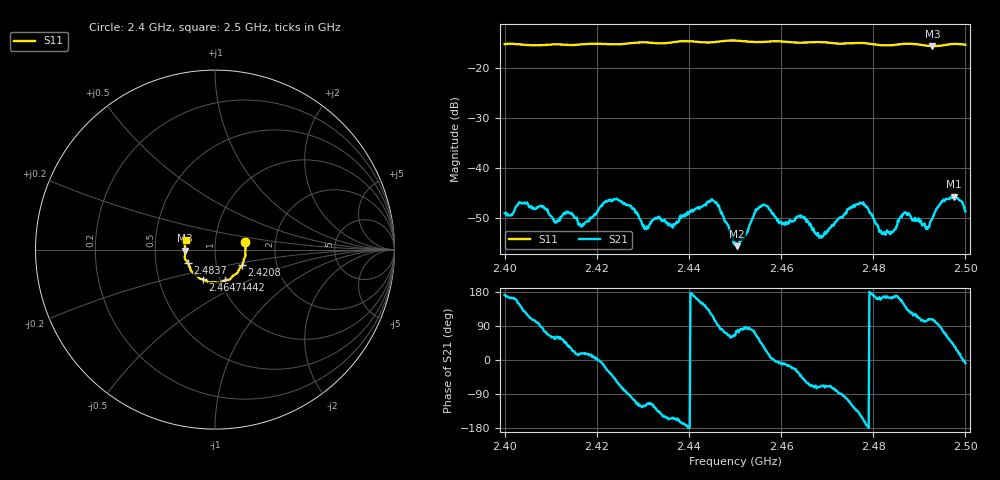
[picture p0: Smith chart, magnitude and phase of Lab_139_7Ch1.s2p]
# Hz S RI R 50
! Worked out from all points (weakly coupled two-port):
!   601 points, 2.4 GHz to 2.5 GHz, reference 50 ohm
!   highest |S21| = -45.68 dB at 2.4975 GHz (marker M1); lowest = -55.5 dB at 2.4505 GHz (marker M2)
!   lowest |S11| = -15.6 dB at 2.4928 GHz (marker M3), VSWR 1.40, Z = 35.8 - j0.385 ohm
!   |S11| at or under -10 dB: start of sweep to end of sweep
!   S12 and S22 are empty: the file has one direction only
!   S11 on the Smith chart (normalised r, x): 2.4 GHz: 1.40, +0.12; 2.4208 GHz: 1.33, -0.24; 2.4442 GHz: 1.05, -0.37; 2.4647 GHz: 0.83, -0.29; 2.4837 GHz: 0.73, -0.11; 2.5 GHz: 0.72, +0.08
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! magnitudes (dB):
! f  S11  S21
! 2.4 GHz  -15.2  -49.0
! 2.4045 GHz  -15.4  -47.1
! 2.4167 GHz  -15.3  -51.3
! 2.4208 GHz  -15.2  -47.6
! 2.4248 GHz  -15.2  -46.4
! 2.4307 GHz  -14.9  -52.2
! 2.4333 GHz  -15.1  -50.0
! 2.4365 GHz  -14.8  -51.8
! 2.4442 GHz  -14.9  -46.6
! 2.45 GHz  -14.5  -55.3
! 2.4505 GHz  -14.5  -55.5
! 2.4558 GHz  -14.8  -47.4
! 2.4647 GHz  -14.9  -49.7
! 2.4667 GHz  -14.8  -52.1
! 2.4688 GHz  -14.8  -53.8
! 2.4773 GHz  -15.0  -46.9
! 2.4833 GHz  -15.5  -52.7
! 2.4837 GHz  -15.5  -53.1
! 2.4868 GHz  -15.2  -48.8
! 2.4928 GHz  -15.6  -50.0
! 2.4975 GHz  -15.2  -45.7
! 2.5 GHz  -15.3  -48.6
